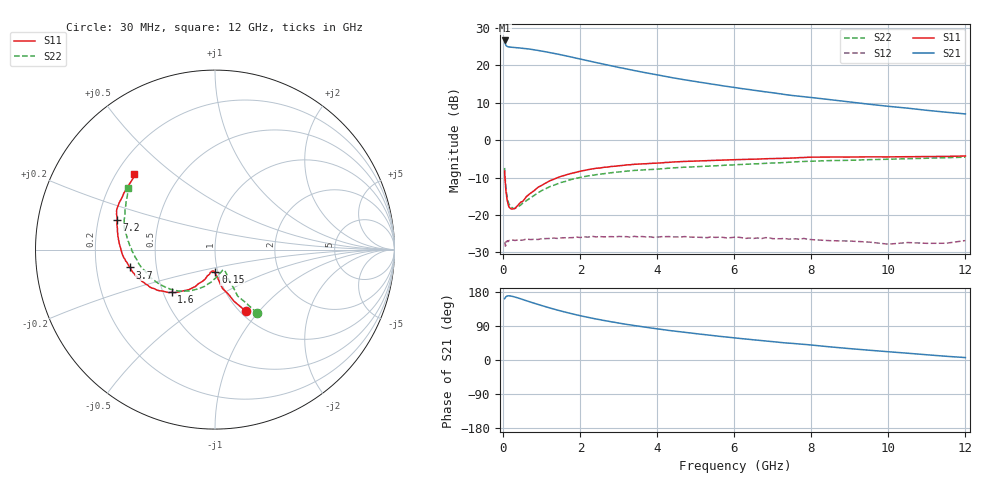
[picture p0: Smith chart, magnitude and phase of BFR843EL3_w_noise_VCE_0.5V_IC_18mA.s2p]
! Infineon Technologies  Discrete & RF Semiconductors
! BFR843EL3
! VCE =  0.5 V,  IC =  18 mA
! Common Emitter S-Parameters:  Aug 2013
# GHz  S  MA  R  50
!  f  S11  S21  S12  S22
! GHz  MAG  ANG  MAG  ANG  MAG  ANG  MAG  ANG
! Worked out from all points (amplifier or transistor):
!   103 points, 30 MHz to 12 GHz, reference 50 ohm
!   highest |S21| = 26.7 dB at 30 MHz (marker M1)
!   |S21| within 3 dB of that: start of sweep to 1.077 GHz
!   unconditionally stable (mu >= 1): 4.901 GHz to end of sweep
!   at 400 MHz: K = 0.99, MSG = 25.7 dB, |S12| = -26.8 dB
!   at 3.7 GHz: K = 0.89, MSG = 22.0 dB, |S12| = -25.9 dB
!   at 12 GHz: K = 2.14, MAG = 10.9 dB, |S12| = -26.9 dB
!   lowest NFmin = 1.06 dB at 450 MHz
!   S11 on the Smith chart (normalised r, x): 30 MHz: 1.06, -0.86; 150 MHz: 0.97, -0.25; 1.6 GHz: 0.55, -0.30; 3.7 GHz: 0.35, -0.09; 7.2 GHz: 0.28, +0.14; 12 GHz: 0.27, +0.37
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0.03  0.3857 -63.3  21.59 161.9  0.0423 25.6  0.4245 -56.4
0.04  0.3065 -69.8  20.18 163.4  0.0425 22.9  0.3376 -60.2
0.06  0.2204 -79.0  18.74 166.4  0.0388 20.1  0.2451 -64.1
0.08  0.1809 -82.2  18.21 168.1  0.0435 12.6  0.1967 -65.5
0.15  0.1262 -88.9  17.65 169.4  0.0455 5.6  0.138 -64.8
0.25  0.12 -96.1  17.44 167.5  0.046 5.5  0.122 -67.4
0.45  0.148 -104.6  17.05 161.4  0.0458 4.7  0.1357 -79.0
0.7  0.194 -112.4  16.47 153.0  0.0467 4.9  0.1684 -92.8
0.9  0.2342 -118.2  15.87 146.6  0.0468 5.2  0.1975 -102.0
1.2  0.285 -126.7  14.87 137.4  0.0483 5.6  0.238 -112.8
1.6  0.3389 -135.4  13.5 126.5  0.0494 6.0  0.2792 -124.4
2.1  0.3933 -144.9  11.85 114.6  0.0508 5.6  0.3252 -136.7
2.8  0.444 -156.6  9.89 100.8  0.0511 3.6  0.3663 -148.6
3.2  0.4658 -161.7  8.964 94.0  0.0511 3.2  0.3848 -154.2
3.7  0.4833 -168.1  7.976 86.5  0.0507 3.3  0.4027 -160.7
4.1  0.4958 -171.8  7.305 80.8  0.051 2.9  0.4132 -164.4
5.1  0.5273 178.7  5.959 68.3  0.0501 1.5  0.4434 -173.8
6.1  0.5489 170.9  4.975 57.3  0.0502 1.9  0.4709 178.6
7.2  0.5697 163.3  4.165 46.3  0.0479 2.3  0.4986 171.1
8.5  0.594 153.8  3.475 34.5  0.0451 0.8  0.5326 161.9
10.5  0.6003 142.8  2.679 17.9  0.0426 11.6  0.5643 151.2
12  0.6136 137.0  2.243 6.4  0.0453 21.4  0.5917 144.8
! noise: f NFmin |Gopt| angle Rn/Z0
0.45  1.06  0.07  132  0.13
0.9  1.06  0.08  131  0.12
1.5  1.08  0.09  133  0.11
1.9  1.08  0.1  136  0.1
2.4  1.09  0.11  142  0.11
3.5  1.11  0.13  151  0.1
5.5  1.14  0.2  171  0.1
8  1.18  0.31  194  0.08
10  1.21  0.44  219  0.07
